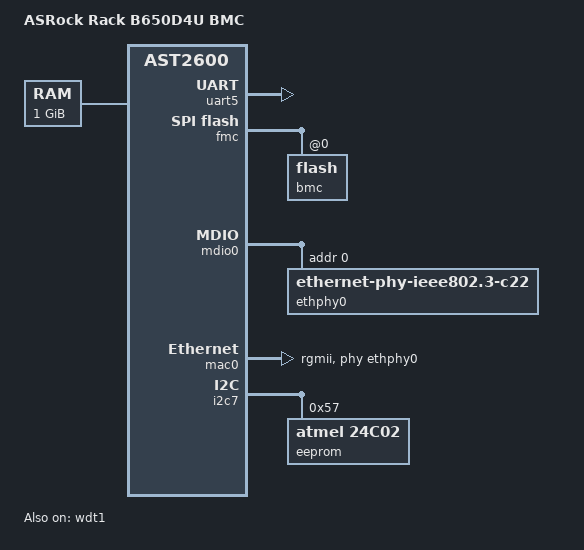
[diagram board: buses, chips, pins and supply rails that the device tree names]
// SPDX-License-Identifier: GPL-2.0
/dts-v1/;

#include "aspeed-g6.dtsi"

/ {
	model = "ASRock Rack B650D4U BMC";
	compatible = "asrock,b650d4u-bmc", "aspeed,ast2600";

	aliases {
		serial4 = &uart5;
	};

	chosen {
		stdout-path = "serial4:115200n8";
	};

	memory@80000000 {
		device_type = "memory";
		reg = <0x80000000 0x40000000>;
	};
};

/* BMC Console UART */
&uart5 {
	status = "okay";
};

/* SPI Flash Management */
&fmc {
	status = "okay";
	flash@0 {
		status = "okay";
		m25p,fast-read;
		label = "bmc";
	};
};

/* Dedicated management LAN via on-board discrete PHY */
&mdio0 {
	status = "okay";

	ethphy0: ethernet-phy@0 {
		compatible = "ethernet-phy-ieee802.3-c22";
		reg = <0>;
	};
};

&mac0 {
	status = "okay";
	phy-mode = "rgmii";
	phy-handle = <&ethphy0>;
	pinctrl-names = "default";
	pinctrl-0 = <&pinctrl_rgmii1_default &pinctrl_mdio1_default>;
};

/* I2C Bus for FRU/EEPROM Storage */
&i2c7 {
	status = "okay";
	eeprom@57 {
		compatible = "atmel,24c02";
		reg = <0x57>;
		pagesize = <16>;
	};
};

/* System Watchdog */
&wdt1 {
	status = "okay";
	aspeed,reset-type = "soc";
};
